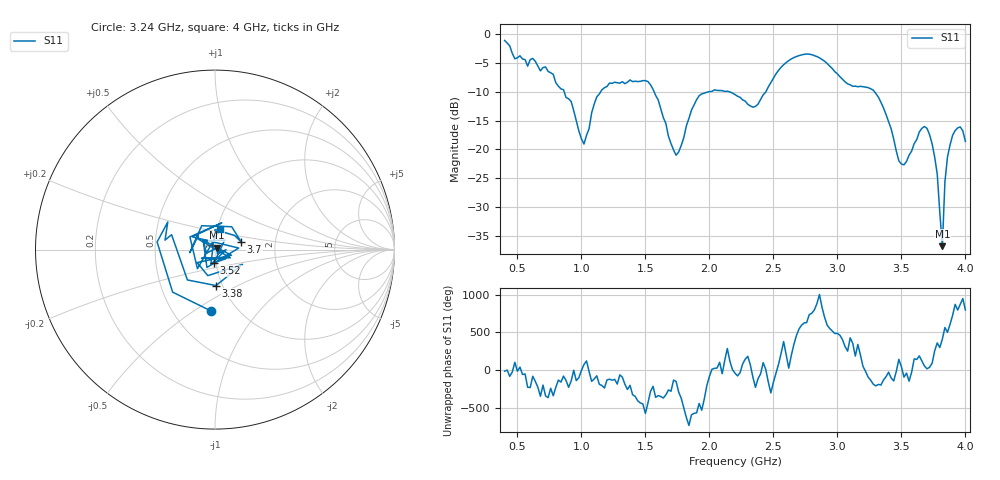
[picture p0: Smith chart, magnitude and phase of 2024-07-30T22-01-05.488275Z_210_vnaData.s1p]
!Created with skrf (http://scikit-rf.org).
# Hz S RI R 50.0
!freq ReS11 ImS11
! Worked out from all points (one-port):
!   181 points, 400 MHz to 4 GHz, reference 50 ohm
!   lowest |S11| = -36.7 dB at 3.82 GHz (marker M1), VSWR 1.03, Z = 50.9 + j1.14 ohm
!   |S11| at or under -10 dB: 1.567 GHz to 1.999 GHz (431.8 MHz wide, 24.2 % of centre); 2.151 GHz to 2.442 GHz (290.9 MHz wide, 12.7 % of centre); 3.289 GHz to end of sweep (the widest 3 of 4)
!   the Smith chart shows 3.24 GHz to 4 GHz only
!   S11 on the Smith chart (normalised r, x): 3.24 GHz: 0.76, -0.59; 3.38 GHz: 0.93, -0.39; 3.52 GHz: 0.98, -0.14; 3.7 GHz: 1.34, +0.12; 4 GHz: 1.03, +0.24
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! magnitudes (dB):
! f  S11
! 400 MHz  -1.2
! 480 MHz  -4.3
! 620 MHz  -4.3
! 860 MHz  -9.7
! 1.02 GHz  -19.1
! 1.12 GHz  -10.9
! 1.3 GHz  -8.5
! 1.52 GHz  -8.3
! 1.72 GHz  -20.1
! 1.76 GHz  -20.4
! 1.92 GHz  -10.7
! 2.2 GHz  -10.5
! 2.36 GHz  -12.6
! 2.66 GHz  -4.1
! 2.86 GHz  -4.2
! 3.1 GHz  -8.8
! 3.24 GHz  -9.3
! 3.38 GHz  -14.0
! 3.48 GHz  -22.0
! 3.52 GHz  -22.7
! 3.56 GHz  -21.0
! 3.7 GHz  -16.4
! 3.78 GHz  -24.3
! 3.82 GHz  -36.7
! 3.84 GHz  -25.6
! 3.88 GHz  -19.2
! 3.96 GHz  -16.1
! 4 GHz  -18.6
